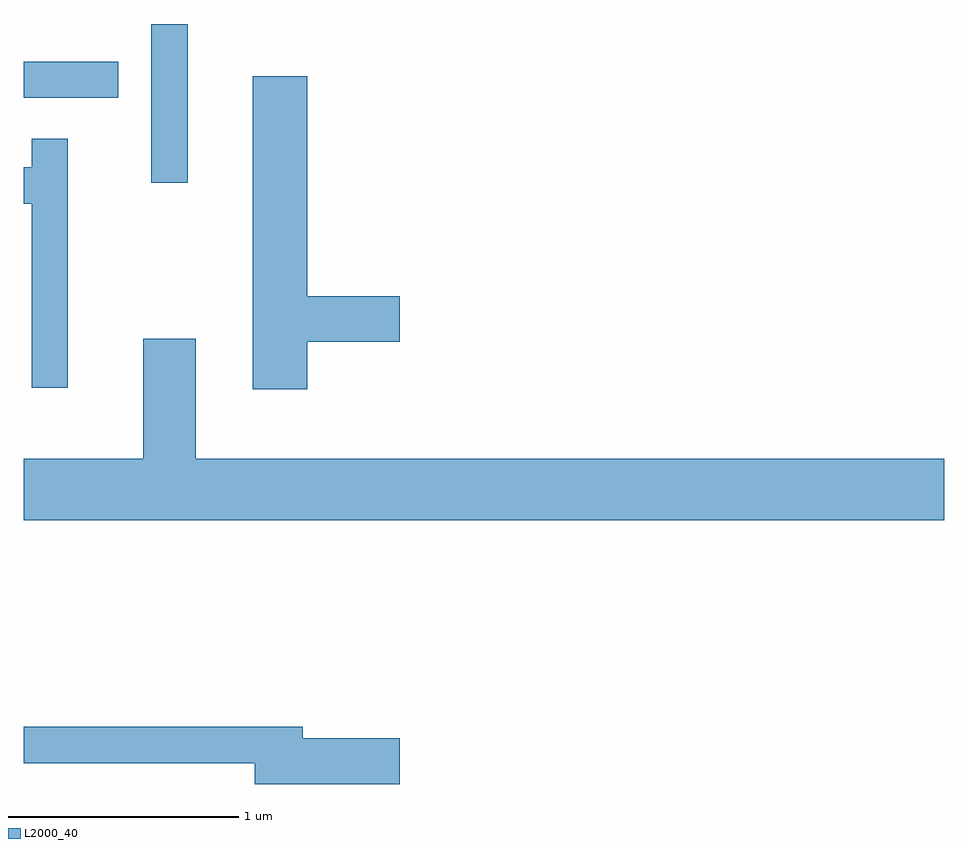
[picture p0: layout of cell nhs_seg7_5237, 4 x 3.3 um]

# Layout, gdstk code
import gdstk
lib = gdstk.Library(unit=1e-6, precision=1e-09)
def R(c, l, rs):  # rectangles x0, y0, x1, y1
    for r in rs: c.add(gdstk.rectangle(r[:2], r[2:], *l))
def P(c, l, *ps):  # polygons
    for p in ps: c.add(gdstk.Polygon(p, *l))
L2000_40 = (2000, 40)

nhs_seg7_5237 = lib.new_cell('nhs_seg7_5237')
R(nhs_seg7_5237, L2000_40, [(346.166,1713.563,346.324,1714.252), (345.611,1713.931,346.023,1714.089)])
P(nhs_seg7_5237, L2000_40, [(346.844,1712.871),(347.244,1712.871),(347.244,1713.069),(346.844,1713.069),(346.844,1714.024),(346.606,1714.024),(346.606,1712.666),(346.844,1712.666)],
  [(345.804,1713.753),(345.646,1713.753),(345.646,1713.629),(345.611,1713.629),(345.611,1713.471),(345.646,1713.471),(345.646,1712.673),(345.804,1712.673)],
  [(349.611,1712.364),(346.359,1712.364),(346.359,1712.884),(346.131,1712.884),(346.131,1712.364),(345.611,1712.364),(345.611,1712.096),(349.611,1712.096)],
  [(347.244,1711.149),(346.824,1711.149),(346.824,1711.199),(345.611,1711.199),(345.611,1711.041),(346.616,1711.041),(346.616,1710.951),(347.244,1710.951)])

lib.write_gds('nhs_seg7_5237.gds')
